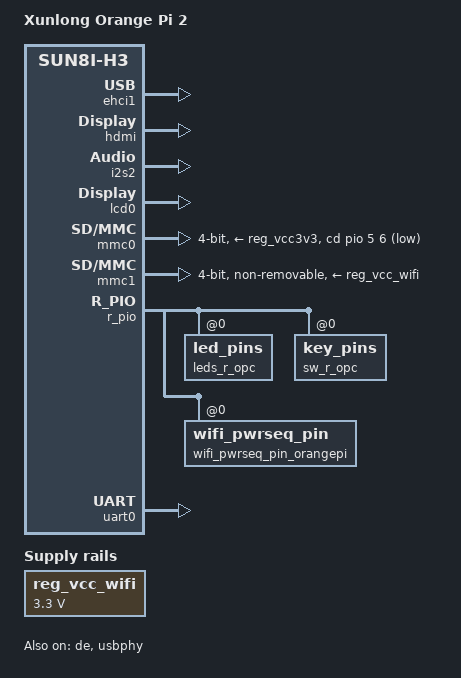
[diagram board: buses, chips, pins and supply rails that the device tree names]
/*
 * Copyright (C) 2016 Hans de Goede <hdegoede@redhat.com>
 *
 * This file is dual-licensed: you can use it either under the terms
 * of the GPL or the X11 license, at your option. Note that this dual
 * licensing only applies to this file, and not this project as a
 * whole.
 *
 *  a) This file is free software; you can redistribute it and/or
 *     modify it under the terms of the GNU General Public License as
 *     published by the Free Software Foundation; either version 2 of the
 *     License, or (at your option) any later version.
 *
 *     This file is distributed in the hope that it will be useful,
 *     but WITHOUT ANY WARRANTY; without even the implied warranty of
 *     MERCHANTABILITY or FITNESS FOR A PARTICULAR PURPOSE.  See the
 *     GNU General Public License for more details.
 *
 * Or, alternatively,
 *
 *  b) Permission is hereby granted, free of charge, to any person
 *     obtaining a copy of this software and associated documentation
 *     files (the "Software"), to deal in the Software without
 *     restriction, including without limitation the rights to use,
 *     copy, modify, merge, publish, distribute, sublicense, and/or
 *     sell copies of the Software, and to permit persons to whom the
 *     Software is furnished to do so, subject to the following
 *     conditions:
 *
 *     The above copyright notice and this permission notice shall be
 *     included in all copies or substantial portions of the Software.
 *
 *     THE SOFTWARE IS PROVIDED "AS IS", WITHOUT WARRANTY OF ANY KIND,
 *     EXPRESS OR IMPLIED, INCLUDING BUT NOT LIMITED TO THE WARRANTIES
 *     OF MERCHANTABILITY, FITNESS FOR A PARTICULAR PURPOSE AND
 *     NONINFRINGEMENT. IN NO EVENT SHALL THE AUTHORS OR COPYRIGHT
 *     HOLDERS BE LIABLE FOR ANY CLAIM, DAMAGES OR OTHER LIABILITY,
 *     WHETHER IN AN ACTION OF CONTRACT, TORT OR OTHERWISE, ARISING
 *     FROM, OUT OF OR IN CONNECTION WITH THE SOFTWARE OR THE USE OR
 *     OTHER DEALINGS IN THE SOFTWARE.
 */

/dts-v1/;
#include "sun8i-h3.dtsi"
#include "sunxi-common-regulators.dtsi"

#include <dt-bindings/gpio/gpio.h>
#include <dt-bindings/input/input.h>
#include <dt-bindings/pinctrl/sun4i-a10.h>

/ {
	model = "Xunlong Orange Pi 2";
	compatible = "xunlong,orangepi-2", "allwinner,sun8i-h3";

	aliases {
		serial0 = &uart0;
//test pb start
		lcd0 = &lcd0;
	};

	chosen {
		stdout-path = "serial0:115200n8";
	};

#if 0
	leds {
		compatible = "gpio-leds";
		pinctrl-names = "default";
		pinctrl-0 = <&leds_opc>, <&leds_r_opc>;

		status_led {
			label = "orangepi:red:status";
			gpios = <&pio 0 15 GPIO_ACTIVE_HIGH>;
		};

		pwr_led {
			label = "orangepi:green:pwr";
			gpios = <&r_pio 0 10 GPIO_ACTIVE_HIGH>;
			default-state = "on";
		};
	};

	r_gpio_keys {
		compatible = "gpio-keys";
		pinctrl-names = "default";
		pinctrl-0 = <&sw_r_opc>;

		sw2 {
			label = "sw2";
			linux,code = <BTN_1>;
			gpios = <&r_pio 0 4 GPIO_ACTIVE_LOW>;
		};

		sw4 {
			label = "sw4";
			linux,code = <BTN_0>;
			gpios = <&r_pio 0 3 GPIO_ACTIVE_LOW>;
		};
	};
#endif

	wifi_pwrseq: wifi_pwrseq {
		compatible = "mmc-pwrseq-simple";
		pinctrl-names = "default";
		pinctrl-0 = <&wifi_pwrseq_pin_orangepi>;
// crash
//		reset-gpios = <&r_pio 0 7 GPIO_ACTIVE_LOW>; /* PL7 WIFI_EN */
	};

	reg_vcc_wifi: vcc_wifi {
		compatible = "regulator-fixed";
		regulator-min-microvolt = <3300000>;
		regulator-max-microvolt = <3300000>;
		regulator-name = "vcc_wifi";
	};
};

#if 1 // test pb start
&ccu {
	/* force some rates and parents */
	assigned-clocks = <&ccu CLK_PLL_PERIPH0>,
			  <&ccu CLK_PLL_PERIPH1>,
			  <&ccu CLK_PLL_DE>,
			  <&ccu CLK_I2S0>,
			  <&ccu CLK_I2S1>,
			  <&ccu CLK_I2S2>;
//			  <&ccu CLK_DE>;
	assigned-clock-parents = <0>,
				<0>,
				<0>,
				<&ccu CLK_PLL_AUDIO>,
				<&ccu CLK_PLL_AUDIO>,
				<&ccu CLK_PLL_AUDIO>;
//				<&ccu CLK_PLL_DE>;
	assigned-clock-rates = <600000000>,
				<600000000>,
				<864000000>,
				<0>,
				<0>,
				<0>;
//				<0>;
};
#endif

#if 1 // test pb start
&de {
	status = "okay";
};

&ehci1 {
	status = "okay";
};

&hdmi {
	status = "okay";
};

&i2s2 {
	status = "okay";
};

#if 0
// problem with prcm / apb0 / ir_clk
&ir {
	pinctrl-names = "default";
	pinctrl-0 = <&ir_pins_a>;
	status = "okay";
};
#endif

&lcd0 {
	status = "okay";
};

//&lcd1 {
//	status = "okay";
//};
#endif

&mmc0 {
	pinctrl-names = "default";
	pinctrl-0 = <&mmc0_pins_a>, <&mmc0_cd_pin>;
	vmmc-supply = <&reg_vcc3v3>;
	bus-width = <4>;
	cd-gpios = <&pio 5 6 GPIO_ACTIVE_HIGH>; /* PF6 */
	cd-inverted;
	status = "okay";
};

#if 1 // test pb start
&mmc1 {
	pinctrl-names = "default";
	pinctrl-0 = <&mmc1_pins_a>;
	vmmc-supply = <&reg_vcc_wifi>;
	mmc-pwrseq = <&wifi_pwrseq>;
	bus-width = <4>;
	non-removable;
	status = "okay";
};
#endif

&pio {
	leds_opc: led_pins@0 {
		allwinner,pins = "PA15";
		allwinner,function = "gpio_out";
		allwinner,drive = <SUN4I_PINCTRL_10_MA>;
		allwinner,pull = <SUN4I_PINCTRL_NO_PULL>;
	};
};

#if 1 // test pb start
&r_pio {
	leds_r_opc: led_pins@0 {
		allwinner,pins = "PL10";
		allwinner,function = "gpio_out";
		allwinner,drive = <SUN4I_PINCTRL_10_MA>;
		allwinner,pull = <SUN4I_PINCTRL_NO_PULL>;
	};

	sw_r_opc: key_pins@0 {
		allwinner,pins = "PL3", "PL4";
		allwinner,function = "gpio_in";
		allwinner,drive = <SUN4I_PINCTRL_10_MA>;
		allwinner,pull = <SUN4I_PINCTRL_NO_PULL>;
	};

	wifi_pwrseq_pin_orangepi: wifi_pwrseq_pin@0 {
		allwinner,pins = "PL7";
		allwinner,function = "gpio_out";
		allwinner,drive = <SUN4I_PINCTRL_10_MA>;
		allwinner,pull = <SUN4I_PINCTRL_NO_PULL>;
	};
};
#endif

&reg_usb1_vbus {
	gpio = <&pio 6 13 GPIO_ACTIVE_HIGH>;
	status = "okay";
};

&reg_vcc3v0 {
	status = "disabled";
};

&reg_vcc5v0 {
	status = "disabled";
};

//&tve {
//	status = "okay";
//};

&uart0 {
	pinctrl-names = "default";
	pinctrl-0 = <&uart0_pins_a>;
	status = "okay";
};

#if 1 // test pb start
&usb1_vbus_pin_a {
	allwinner,pins = "PG13";
};

&usbphy {
	usb1_vbus-supply = <&reg_usb1_vbus>;
	status = "okay";
};
#endif
